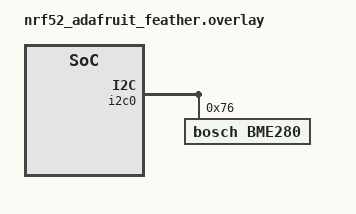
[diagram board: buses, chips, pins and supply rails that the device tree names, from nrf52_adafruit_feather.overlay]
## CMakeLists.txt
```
# Boilerplate code, which pulls in the Zephyr build system.
cmake_minimum_required(VERSION 3.13.1)
include($ENV{ZEPHYR_BASE}/cmake/app/boilerplate.cmake NO_POLICY_SCOPE)
project(sensor)

# Add your source file to the "app" target. This must come after
# the boilerplate code, which defines the target.
FILE(GLOB app_sources src/*.c)
target_sources(app PRIVATE ${app_sources})
```

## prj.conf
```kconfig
CONFIG_LOG=y
CONFIG_SERIAL=y
CONFIG_STDOUT_CONSOLE=y
CONFIG_UART_INTERRUPT_DRIVEN=y

CONFIG_LOG_DEFAULT_LEVEL=4
CONFIG_LOG_OVERRIDE_LEVEL=4

CONFIG_I2C=y
CONFIG_I2C_LOG_LEVEL_INF=y
CONFIG_I2C_LOG_LEVEL_ERR=y
CONFIG_I2C_LOG_LEVEL_DBG=y

CONFIG_I2C_NRFX=y
CONFIG_I2C_0=y
CONFIG_I2C_0_NRF_TWI=y

CONFIG_SENSOR=y
CONFIG_BME280=y

CONFIG_MAIN_STACK_SIZE=512
CONFIG_SYSTEM_WORKQUEUE_STACK_SIZE=2048
CONFIG_SYS_CLOCK_TICKS_PER_SEC=250
CONFIG_GPIO=y
CONFIG_FLASH=y
CONFIG_DISPLAY=y

CONFIG_BT=y
CONFIG_BT_SMP=y
CONFIG_BT_SETTINGS=n
CONFIG_BT_PERIPHERAL=y
CONFIG_BT_RX_STACK_SIZE=1280
CONFIG_BT_CTLR_DUP_FILTER_LEN=0
CONFIG_BT_OBSERVER=y
CONFIG_BT_BROADCASTER=y
CONFIG_BT_GATT_BAS=y
CONFIG_BT_ATT_PREPARE_COUNT=5
CONFIG_BT_DEBUG_LOG=y
CONFIG_BT_PRIVACY=y
CONFIG_BT_DEVICE_NAME="Sensor MKII"
```

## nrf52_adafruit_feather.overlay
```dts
&i2c0 {
    bme280@76 {
        compatible = "bosch,bme280"; 
        label = "BME280";
        reg = <0x76>;
    };
};
```

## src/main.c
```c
#include <zephyr.h>
#include <device.h>
#include <sensor.h>
#include <bluetooth/bluetooth.h>
#include <bluetooth/conn.h>
#include <bluetooth/gatt.h>
#include <bluetooth/services/bas.h>

#define SLEEP_TIME 	1000

static struct device *sensor_device;

static const struct bt_data ad[] = {
	BT_DATA_BYTES(BT_DATA_FLAGS, (BT_LE_AD_GENERAL | BT_LE_AD_NO_BREDR)),
	BT_DATA_BYTES(BT_DATA_UUID16_ALL, 0x0d, 0x18, 0x0f, 0x18, 0x05, 0x18),
	BT_DATA_BYTES(BT_DATA_UUID128_ALL, 0xf0, 0xde, 0xbc, 0x9a, 0x78, 0x56, 0x34, 0x12, 0x78, 0x56, 0x34, 0x12, 0x78, 0x56, 0x34, 0x12),
};

static void connected(struct bt_conn *conn, u8_t err)
{
	if (err) 
	{
		printk("Connection failed (err %u)\n", err);
	} 
	else 
	{
		printk("Connected\n");
	}
}

static void disconnected(struct bt_conn *conn, u8_t reason)
{
	printk("Disconnected (reason %u)\n", reason);
}

static struct bt_conn_cb conn_callbacks = {
	.connected = connected,
	.disconnected = disconnected,
};

static void auth_passkey_display(struct bt_conn *conn, unsigned int passkey)
{
	char addr[BT_ADDR_LE_STR_LEN];

	bt_addr_le_to_str(bt_conn_get_dst(conn), addr, sizeof(addr));

	printk("Passkey for %s: %06u\n", addr, passkey);
}

static void auth_cancel(struct bt_conn *conn)
{
	char addr[BT_ADDR_LE_STR_LEN];

	bt_addr_le_to_str(bt_conn_get_dst(conn), addr, sizeof(addr));

	printk("Pairing cancelled: %s\n", addr);
}

static struct bt_conn_auth_cb auth_cb_display = {
	.passkey_display = auth_passkey_display,
	.passkey_entry = NULL,
	.cancel = auth_cancel,
};

static void bt_ready(int err) 
{
   if (err)   
   {     
	   printk("bt_enable init failed with err %d\n", err);
	   return;
	}
	
	printk("Bluetooth initialised OK\n");   

	err = bt_le_adv_start(BT_LE_ADV_CONN_NAME, ad, ARRAY_SIZE(ad), NULL, 0);
	
	if (err) {
		printk("Advertising failed to start (err %d)\n", err);
		return;
	}
} 

void main(void)
{
    int err;  

	printk("Sensor MkII\n");
	
 	err = bt_enable(bt_ready);

	if (err)  
	{
		printk("bt_enable failed with err %d\n", err);
	} 

	err = bt_unpair(BT_ID_DEFAULT, BT_ADDR_LE_ANY);

	if (err)  
	{
		printk("bt_unpair failed with err %d\n", err);
	} 

	bt_conn_cb_register(&conn_callbacks);
	bt_conn_auth_cb_register(&auth_cb_display);

	sensor_device = device_get_binding("BME280");

	if (sensor_device == NULL) {
		printk("Could not get BME280 device\n");
		return;
	}

	printk("Dev %p name %s\n", sensor_device, sensor_device->config->name);

	while (1) {
		
		struct sensor_value temp, press, humidity;

		sensor_sample_fetch(sensor_device);
		sensor_channel_get(sensor_device, SENSOR_CHAN_AMBIENT_TEMP, &temp);
		sensor_channel_get(sensor_device, SENSOR_CHAN_PRESS, &press);
		sensor_channel_get(sensor_device, SENSOR_CHAN_HUMIDITY, &humidity);

		bt_gatt_bas_set_battery_level(temp.val1);

		printk("temp: %d.%06d; press: %d.%06d; humidity: %d.%06d\n",
		      	temp.val1, 
				temp.val2, 
				press.val1, 
				press.val2,
		      	humidity.val1, 
			  	humidity.val2);

		k_sleep(5000);
	}
}
```
